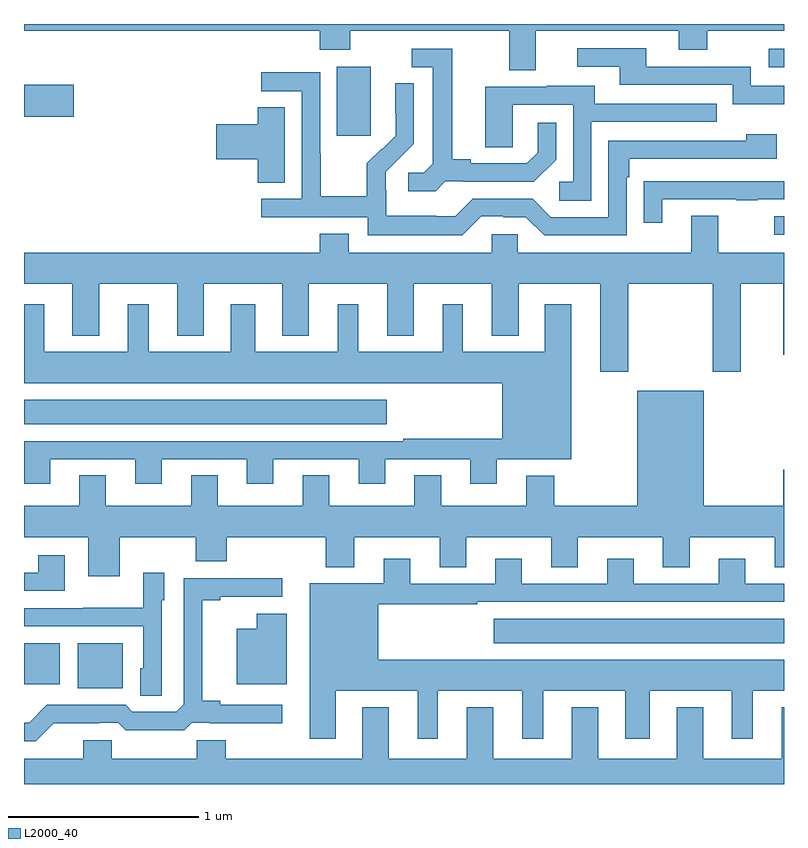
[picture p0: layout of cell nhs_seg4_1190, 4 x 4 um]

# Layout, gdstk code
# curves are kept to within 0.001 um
import gdstk
lib = gdstk.Library(unit=1e-6, precision=1e-09)
def R(c, l, rs):  # rectangles x0, y0, x1, y1
    for r in rs: c.add(gdstk.rectangle(r[:2], r[2:], *l))
def P(c, l, *ps):  # polygons
    for p in ps: c.add(gdstk.Polygon(p, *l))
L2000_40 = (2000, 40)

nhs_seg4_1190 = lib.new_cell('nhs_seg4_1190')
R(nhs_seg4_1190, L2000_40, [(173.282,749.405,173.521,749.641), (173,749.426,173.188,749.641), (175.473,749.642,177,749.77), (173,750.794,174.91,750.922), (176.949,751.791,177,751.887), (174.647,752.313,174.826,752.674), (173,752.411,173.263,752.581), (176.919,752.673,177,752.769)])
P(nhs_seg4_1190, L2000_40, [(175.693,752.864),(176.447,752.864),(176.447,752.765),(176.595,752.765),(176.595,752.864),(177,752.864),(177,752.9),(173,752.9),(173,752.864),(174.557,752.864),(174.557,752.765),(174.717,752.765),(174.717,752.864),(175.553,752.864),(175.553,752.656),(175.693,752.656)],
  [(177,752.574),(176.826,752.574),(176.826,752.676),(176.275,752.676),(176.275,752.772),(175.911,752.772),(175.911,752.676),(176.135,752.676),(176.135,752.58),(176.73,752.58),(176.73,752.477),(177,752.477)],
  [(175.218,752.073),(175.312,752.073),(175.312,752.07),(175.684,752.07),(175.8,752.186),(175.8,752.38),(175.703,752.38),(175.703,752.223),(175.646,752.166),(175.351,752.166),(175.351,752.189),(175.255,752.189),(175.255,752.769),(175.041,752.769),(175.041,752.673),(175.151,752.673),(175.151,752.165),(175.104,752.118),(175.023,752.118),(175.023,752.021),(175.166,752.021)],
  [(175.407,751.887),(175.523,751.887),(175.523,751.884),(175.641,751.884),(175.737,751.788),(176.172,751.788),(176.172,752.093),(176.185,752.093),(176.185,752.19),(176.962,752.19),(176.962,752.32),(176.801,752.32),(176.801,752.286),(176.076,752.286),(176.076,751.884),(175.773,751.884),(175.677,751.98),(175.362,751.98),(175.269,751.887),(175.169,751.887),(175.169,751.891),(174.906,751.891),(174.906,752.025),(174.904,752.025),(174.904,752.122),(175.05,752.27),(175.05,752.588),(174.954,752.588),(174.954,752.434),(174.956,752.434),(174.956,752.312),(174.885,752.241),(174.882,752.244),(174.805,752.167),(174.805,751.993),(174.561,751.993),(174.561,752.216),(174.558,752.216),(174.558,752.646),(174.249,752.646),(174.249,752.547),(174.462,752.547),(174.462,751.98),(174.249,751.98),(174.249,751.884),(174.81,751.884),(174.81,751.787),(175.307,751.787)],
  [(175.986,752.385),(176.645,752.385),(176.645,752.481),(176.005,752.481),(176.005,752.575),(175.751,752.575),(175.751,752.571),(175.427,752.571),(175.427,752.251),(175.572,752.251),(175.572,752.475),(175.89,752.475),(175.89,752.07),(175.818,752.07),(175.818,751.969),(175.986,751.969)],
  [(174.373,752.462),(174.23,752.462),(174.23,752.372),(174.012,752.372),(174.012,752.189),(174.23,752.189),(174.23,752.065),(174.373,752.065)],
  [(176.359,751.977),(176.749,751.977),(176.749,751.972),(176.861,751.972),(176.861,751.977),(177,751.977),(177,752.073),(176.365,752.073),(176.365,752.072),(176.263,752.072),(176.263,751.854),(176.359,751.854)],
  [(173,751.532),(173.255,751.532),(173.255,751.259),(173.395,751.259),(173.395,751.532),(173.807,751.532),(173.807,751.259),(173.947,751.259),(173.947,751.532),(174.359,751.532),(174.359,751.259),(174.499,751.259),(174.499,751.532),(174.911,751.532),(174.911,751.259),(175.051,751.259),(175.051,751.532),(175.463,751.532),(175.463,751.259),(175.603,751.259),(175.603,751.532),(176.033,751.532),(176.033,751.071),(176.181,751.071),(176.181,751.532),(176.626,751.532),(176.626,751.071),(176.773,751.071),(176.773,751.532),(176.996,751.532),(176.996,751.158),(177,751.158),(177,751.696),(176.653,751.696),(176.653,751.891),(176.513,751.891),(176.513,751.696),(175.599,751.696),(175.599,751.794),(175.461,751.794),(175.461,751.696),(174.709,751.696),(174.709,751.795),(174.557,751.795),(174.557,751.696),(173,751.696)],
  [(173.137,750.609),(173.585,750.609),(173.585,750.48),(173.725,750.48),(173.725,750.609),(174.173,750.609),(174.173,750.48),(174.313,750.48),(174.313,750.609),(174.761,750.609),(174.761,750.48),(174.901,750.48),(174.901,750.609),(175.349,750.609),(175.349,750.48),(175.489,750.48),(175.489,750.608),(175.879,750.608),(175.879,751.426),(175.742,751.426),(175.742,751.174),(175.309,751.174),(175.309,751.426),(175.205,751.426),(175.205,751.174),(174.76,751.174),(174.76,751.426),(174.65,751.426),(174.65,751.174),(174.217,751.174),(174.217,751.426),(174.089,751.426),(174.089,751.174),(173.656,751.174),(173.656,751.426),(173.546,751.426),(173.546,751.174),(173.107,751.174),(173.107,751.426),(173,751.426),(173,751.01),(175.517,751.01),(175.517,750.718),(174.997,750.718),(174.997,750.705),(173,750.705),(173,750.48),(173.137,750.48)],
  [(173.503,750.2),(173.903,750.2),(173.903,750.072),(174.067,750.072),(174.067,750.2),(174.587,750.2),(174.587,750.041),(174.739,750.041),(174.739,750.2),(175.187,750.2),(175.187,750.04),(175.327,750.04),(175.327,750.2),(175.775,750.2),(175.775,750.04),(175.915,750.04),(175.915,750.2),(176.363,750.2),(176.363,750.04),(176.503,750.04),(176.503,750.2),(176.951,750.2),(176.951,750.04),(177,750.04),(177,750.553),(176.996,750.553),(176.996,750.364),(176.578,750.364),(176.578,750.97),(176.228,750.97),(176.228,750.364),(175.791,750.364),(175.791,750.523),(175.643,750.523),(175.643,750.364),(175.195,750.364),(175.195,750.524),(175.055,750.524),(175.055,750.364),(174.607,750.364),(174.607,750.524),(174.467,750.524),(174.467,750.364),(174.019,750.364),(174.019,750.524),(173.879,750.524),(173.879,750.364),(173.431,750.364),(173.431,750.524),(173.291,750.524),(173.291,750.364),(173,750.364),(173,750.2),(173.339,750.2),(173.339,749.994),(173.503,749.994)],
  [(173.215,750.103),(173.075,750.103),(173.075,750.012),(173,750.012),(173,749.916),(173.215,749.916)],
  [(174.64,749.39),(175.073,749.39),(175.073,749.139),(175.177,749.139),(175.177,749.39),(175.622,749.39),(175.622,749.139),(175.732,749.139),(175.732,749.39),(176.165,749.39),(176.165,749.139),(176.293,749.139),(176.293,749.39),(176.726,749.39),(176.726,749.139),(176.836,749.139),(176.836,749.39),(177,749.39),(177,749.554),(174.865,749.554),(174.865,749.847),(175.385,749.847),(175.385,749.859),(177,749.859),(177,749.955),(176.797,749.955),(176.797,750.085),(176.657,750.085),(176.657,749.955),(176.209,749.955),(176.209,750.085),(176.069,750.085),(176.069,749.955),(175.621,749.955),(175.621,750.085),(175.481,750.085),(175.481,749.955),(175.033,749.955),(175.033,750.085),(174.893,750.085),(174.893,749.956),(174.503,749.956),(174.503,749.139),(174.64,749.139)],
  [(173.724,749.868),(173.737,749.868),(173.737,750.013),(173.628,750.013),(173.628,749.827),(173.311,749.827),(173.311,749.826),(173,749.826),(173,749.73),(173.628,749.73),(173.628,749.508),(173.612,749.508),(173.612,749.365),(173.724,749.365)],
  [(173.156,749.219),(173.396,749.219),(173.396,749.223),(173.496,749.223),(173.536,749.184),(173.843,749.184),(173.883,749.223),(173.977,749.223),(173.977,749.219),(174.358,749.219),(174.358,749.316),(174.034,749.316),(174.034,749.339),(173.939,749.339),(173.939,749.866),(174.034,749.866),(174.034,749.886),(174.358,749.886),(174.358,749.982),(173.841,749.982),(173.841,749.319),(173.802,749.28),(173.571,749.28),(173.535,749.316),(173.121,749.316),(173.027,749.222),(173,749.222),(173,749.124),(173.061,749.124)],
  [(174.382,749.797),(174.224,749.797),(174.224,749.716),(174.119,749.716),(174.119,749.426),(174.382,749.426)],
  [(176.987,749.032),(176.575,749.032),(176.575,749.305),(176.435,749.305),(176.435,749.032),(176.023,749.032),(176.023,749.305),(175.883,749.305),(175.883,749.032),(175.471,749.032),(175.471,749.305),(175.331,749.305),(175.331,749.032),(174.919,749.032),(174.919,749.305),(174.779,749.305),(174.779,749.032),(174.063,749.032),(174.063,749.13),(173.908,749.13),(173.908,749.032),(173.463,749.032),(173.463,749.13),(173.312,749.13),(173.312,749.032),(173,749.032),(173,748.9),(177,748.9),(177,749.305),(176.987,749.305)])

lib.write_gds('nhs_seg4_1190.gds')
